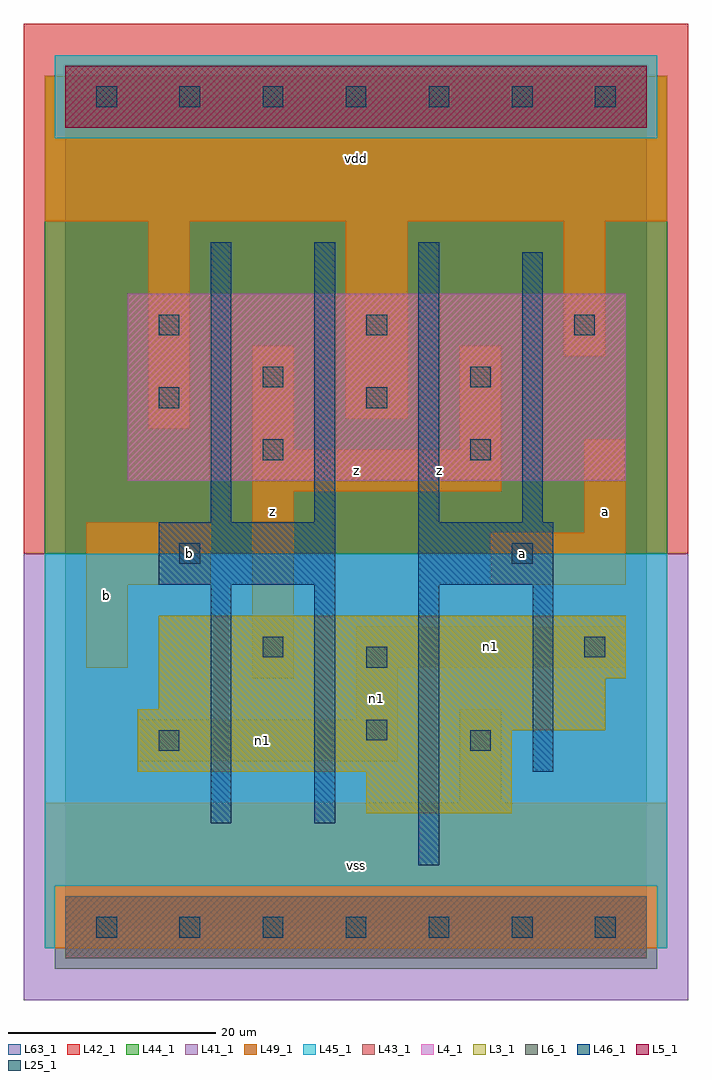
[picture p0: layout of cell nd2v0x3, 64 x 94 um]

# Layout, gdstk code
import gdstk
lib = gdstk.Library(unit=1e-6, precision=1e-09)
def R(c, l, rs):  # rectangles x0, y0, x1, y1
    for r in rs: c.add(gdstk.rectangle(r[:2], r[2:], *l))
def A(c, l, x, y, w, h, nx, ny, dx, dy):  # array of equal rectangles
    R(c, l, [(x+i*dx, y+j*dy, x+i*dx+w, y+j*dy+h) for i in range(nx) for j in range(ny)])
L3_1 = (3, 1)
L4_1 = (4, 1)
L5_1 = (5, 1)
L6_1 = (6, 1)
L25_1 = (25, 1)
L41_1 = (41, 1)
L42_1 = (42, 1)
L43_1 = (43, 1)
L44_1 = (44, 1)
L45_1 = (45, 1)
L46_1 = (46, 1)
L49_1 = (49, 1)
L63_1 = (63, 1)

nd2v0x3 = lib.new_cell('nd2v0x3')
R(nd2v0x3, L3_1, [(29,11,43,15), (7,15,43,19), (7,19,52,21), (9,21,52,24), (9,24,54,30)])
R(nd2v0x3, L4_1, [(6,43,54,61)])
R(nd2v0x3, L5_1, [(0,77,56,83)])
R(nd2v0x3, L6_1, [(0,-3,56,3), (0,-3,56,3)])
A(nd2v0x3, L25_1, 3, -1, 2, 2, 7, 2, 8, 80)
A(nd2v0x3, L25_1, 9, 57, 2, 2, 3, 1, 20, 0)
R(nd2v0x3, L25_1, [(9,17,11,19), (39,17,41,19), (29,18,31,20), (29,25,31,27), (19,26,21,28), (50,26,52,28), (11,35,13,37), (43,35,45,37), (19,45,21,47), (39,45,41,47), (9,50,11,52), (29,50,31,52), (19,52,21,54), (39,52,41,54)])
R(nd2v0x3, L41_1, [(-4,-7,60,36)])
R(nd2v0x3, L42_1, [(-4,36,60,87)])
R(nd2v0x3, L43_1, [(0,-3,56,3), (29,11,43,15), (7,15,43,19), (7,19,52,21), (9,21,52,24), (9,24,54,30), (6,43,54,61), (0,77,56,83)])
R(nd2v0x3, L44_1, [(-1,-4,57,4), (-2,36,58,76), (-2,76,-1,82), (57,76,58,82)])
R(nd2v0x3, L45_1, [(-2,-2,-1,4), (57,-2,58,4), (-2,4,58,36), (-1,76,57,84)])
A(nd2v0x3, L46_1, 14, 39, 2, 27, 3, 1, 10, 0)
R(nd2v0x3, L46_1, [(34,6,36,33), (14,10,16,33), (24,10,26,33), (45,15,47,33), (9,33,26,39), (34,33,47,39), (44,39,46,65)])
R(nd2v0x3, L49_1, [(-2,-2,58,12), (38,12,42,21), (7,16,32,20), (28,20,32,25), (18,24,22,42), (2,25,6,33), (28,25,54,29), (2,33,14,39), (41,33,54,38), (50,38,54,47), (18,42,42,46), (18,46,22,56), (38,46,42,56), (8,48,12,68), (27,49,33,68), (48,55,52,68), (-2,68,58,82)])
R(nd2v0x3, L63_1, [(0,0,56,80)])
nd2v0x3.add(gdstk.Label('b', (4,32), layer=49, texttype=1))
nd2v0x3.add(gdstk.Label('b', (12,36), layer=49, texttype=1))
nd2v0x3.add(gdstk.Label('z', (20,40), layer=49, texttype=1))
nd2v0x3.add(gdstk.Label('vss', (28,6), layer=49, texttype=1))
nd2v0x3.add(gdstk.Label('n1', (30,22), layer=49, texttype=1))
nd2v0x3.add(gdstk.Label('n1', (19,18), layer=49, texttype=1))
nd2v0x3.add(gdstk.Label('z', (36,44), layer=49, texttype=1))
nd2v0x3.add(gdstk.Label('z', (28,44), layer=49, texttype=1))
nd2v0x3.add(gdstk.Label('vdd', (28,74), layer=49, texttype=1))
nd2v0x3.add(gdstk.Label('a', (44,36), layer=49, texttype=1))
nd2v0x3.add(gdstk.Label('n1', (41,27), layer=49, texttype=1))
nd2v0x3.add(gdstk.Label('a', (52,40), layer=49, texttype=1))

lib.write_gds('nd2v0x3.gds')
